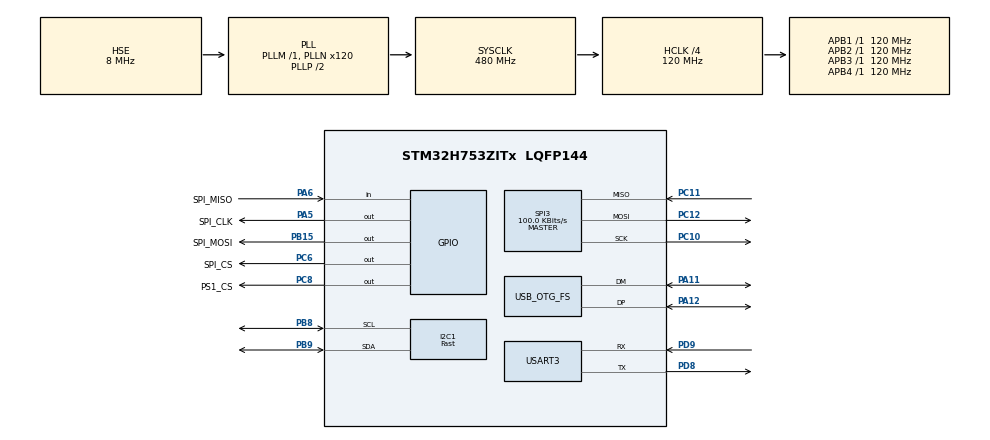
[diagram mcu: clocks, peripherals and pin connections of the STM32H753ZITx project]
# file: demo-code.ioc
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CORTEX_M7.CPU_DCache=Disabled
CORTEX_M7.CPU_ICache=Disabled
CORTEX_M7.MPU_Control=__NULL
CORTEX_M7.default_mode_Activation=1
Dma.Request0=USART3_RX
Dma.Request1=USART3_TX
Dma.USART3_RX.0.Direction=DMA_PERIPH_TO_MEMORY
Dma.USART3_RX.0.EventEnable=DISABLE
Dma.USART3_RX.0.FIFOMode=DMA_FIFOMODE_DISABLE
Dma.USART3_RX.0.Instance=DMA1_Stream0
Dma.USART3_RX.0.MemDataAlignment=DMA_MDATAALIGN_BYTE
Dma.USART3_RX.0.MemInc=DMA_MINC_ENABLE
Dma.USART3_RX.0.Mode=DMA_NORMAL
Dma.USART3_RX.0.PeriphDataAlignment=DMA_PDATAALIGN_BYTE
Dma.USART3_RX.0.PeriphInc=DMA_PINC_DISABLE
Dma.USART3_RX.0.Polarity=HAL_DMAMUX_REQ_GEN_RISING
Dma.USART3_RX.0.Priority=DMA_PRIORITY_MEDIUM
Dma.USART3_RX.0.RequestNumber=1
Dma.USART3_RX.0.SignalID=NONE
Dma.USART3_RX.0.SyncEnable=DISABLE
Dma.USART3_RX.0.SyncPolarity=HAL_DMAMUX_SYNC_NO_EVENT
Dma.USART3_RX.0.SyncRequestNumber=1
Dma.USART3_RX.0.SyncSignalID=NONE
Dma.USART3_TX.1.Direction=DMA_MEMORY_TO_PERIPH
Dma.USART3_TX.1.EventEnable=DISABLE
Dma.USART3_TX.1.FIFOMode=DMA_FIFOMODE_DISABLE
Dma.USART3_TX.1.Instance=DMA1_Stream1
Dma.USART3_TX.1.MemDataAlignment=DMA_MDATAALIGN_BYTE
Dma.USART3_TX.1.MemInc=DMA_MINC_ENABLE
Dma.USART3_TX.1.Mode=DMA_NORMAL
Dma.USART3_TX.1.PeriphDataAlignment=DMA_PDATAALIGN_BYTE
Dma.USART3_TX.1.PeriphInc=DMA_PINC_DISABLE
Dma.USART3_TX.1.Polarity=HAL_DMAMUX_REQ_GEN_RISING
Dma.USART3_TX.1.Priority=DMA_PRIORITY_MEDIUM
Dma.USART3_TX.1.RequestNumber=1
Dma.USART3_TX.1.SignalID=NONE
Dma.USART3_TX.1.SyncEnable=DISABLE
Dma.USART3_TX.1.SyncPolarity=HAL_DMAMUX_SYNC_NO_EVENT
Dma.USART3_TX.1.SyncRequestNumber=1
Dma.USART3_TX.1.SyncSignalID=NONE
I2C1.I2C_Speed_Mode=I2C_Fast
I2C1.Timing=0x00B03FDB
Mcu.Family=STM32H7
Mcu.Name=STM32H753ZITx
Mcu.Package=LQFP144
NUCLEO-H753ZI.BUTTON=1
NUCLEO-H753ZI.LD1=true
NUCLEO-H753ZI.LD2=true
NUCLEO-H753ZI.LD3=true
NUCLEO-H753ZI.VCP=false
NVIC.DMA1_Stream0_IRQn=true\:3\:0\:true\:false\:true\:false\:true\:true
NVIC.DMA1_Stream1_IRQn=true\:3\:0\:true\:false\:true\:false\:true\:true
NVIC.EXTI15_10_IRQn=true\:0\:0\:false\:false\:true\:false\:true\:true
NVIC.I2C1_ER_IRQn=true\:3\:0\:true\:false\:true\:true\:true\:true
NVIC.I2C1_EV_IRQn=true\:3\:0\:true\:false\:true\:true\:true\:true
NVIC.OTG_FS_EP1_IN_IRQn=true\:0\:0\:false\:false\:true\:true\:true\:true
NVIC.OTG_FS_EP1_OUT_IRQn=true\:0\:0\:false\:false\:true\:true\:true\:true
NVIC.OTG_FS_IRQn=true\:0\:0\:false\:false\:true\:true\:true\:true
NVIC.PriorityGroup=NVIC_PRIORITYGROUP_4
NVIC.SPI3_IRQn=true\:0\:0\:false\:false\:true\:true\:true\:true
NVIC.TIM17_IRQn=true\:15\:0\:false\:false\:true\:false\:true\:true
NVIC.TimeBase=TIM17_IRQn
NVIC.TimeBaseIP=TIM17
NVIC.USART3_IRQn=true\:3\:0\:true\:false\:true\:true\:true\:true
PA11.Mode=Device_Only
PA11.Signal=USB_OTG_FS_DM
PA12.Mode=Device_Only
PA12.Signal=USB_OTG_FS_DP
PA13\ (JTMS/SWDIO).Mode=Serial_Wire
PA13\ (JTMS/SWDIO).Signal=DEBUG_JTMS-SWDIO
PA14\ (JTCK/SWCLK).Mode=Serial_Wire
PA14\ (JTCK/SWCLK).Signal=DEBUG_JTCK-SWCLK
PA5.GPIO_Label=SPI_CLK
PA5.GPIO_Speed=GPIO_SPEED_FREQ_HIGH
PA5.Signal=GPIO_Output
PA6.GPIO_Label=SPI_MISO
PA6.GPIO_PuPd=GPIO_NOPULL
PA6.Signal=GPIO_Input
PB15.GPIO_Label=SPI_MOSI
PB15.GPIO_Speed=GPIO_SPEED_FREQ_HIGH
PB15.Signal=GPIO_Output
PB8.Mode=I2C
PB8.Signal=I2C1_SCL
PB9.Mode=I2C
PB9.Signal=I2C1_SDA
PC10.Mode=Full_Duplex_Master
PC10.Signal=SPI3_SCK
PC11.Mode=Full_Duplex_Master
PC11.Signal=SPI3_MISO
PC12.Mode=Full_Duplex_Master
PC12.Signal=SPI3_MOSI
PC14-OSC32_IN\ (OSC32_IN).Signal=RCC_OSC32_IN
PC15-OSC32_OUT\ (OSC32_OUT).Signal=RCC_OSC32_OUT
PC6.GPIO_Label=SPI_CS
PC6.GPIO_Speed=GPIO_SPEED_FREQ_HIGH
PC6.PinState=GPIO_PIN_SET
PC6.Signal=GPIO_Output
PC8.GPIO_Label=PS1_CS
PC8.PinState=GPIO_PIN_SET
PC8.Signal=GPIO_Output
PD8.Mode=Asynchronous
PD8.Signal=USART3_TX
PD9.Mode=Asynchronous
PD9.Signal=USART3_RX
PH0-OSC_IN\ (PH0).Mode=HSE-External-Clock-Source
PH0-OSC_IN\ (PH0).Signal=RCC_OSC_IN
PH1-OSC_OUT\ (PH1).Signal=RCC_OSC_OUT
ProjectManager.HeapSize=0x200
ProjectManager.StackSize=0x400
ProjectManager.TargetToolchain=CMake
RCC.ADCFreq_Value=120000000
RCC.APB1Freq_Value=120000000
RCC.APB2Freq_Value=120000000
RCC.APB3Freq_Value=120000000
RCC.APB4Freq_Value=120000000
RCC.CortexFreq_Value=480000000
RCC.DIVM1=1
RCC.DIVM2=1
RCC.DIVM3=4
RCC.DIVN1=120
RCC.DIVN2=120
RCC.DIVN3=80
RCC.DIVP2=8
RCC.DIVP3=100
RCC.DIVQ1=8
RCC.DIVQ2=8
RCC.DIVQ3=8
RCC.DIVR1=8
RCC.DIVR3=8
RCC.HCLKFreq_Value=120000000
RCC.HPRE=RCC_HCLK_DIV4
RCC.HSE_VALUE=8000000
RCC.PLLFRACN=0
RCC.PLLSourceVirtual=RCC_PLLSOURCE_HSE
RCC.PWR_Regulator_Voltage_Scale=PWR_REGULATOR_VOLTAGE_SCALE0
RCC.SPI123CLockSelection=RCC_SPI123CLKSOURCE_PLL3
RCC.SYSCLKFreq_VALUE=480000000
RCC.SYSCLKSource=RCC_SYSCLKSOURCE_PLLCLK
RCC.USBCLockSelection=RCC_USBCLKSOURCE_HSI48
RCC.USBFreq_Value=48000000
SPI3.BaudRatePrescaler=SPI_BAUDRATEPRESCALER_16
SPI3.CLKPhase=SPI_PHASE_2EDGE
SPI3.CLKPolarity=SPI_POLARITY_HIGH
SPI3.CalculateBaudRate=100.0 KBits/s
SPI3.DataSize=SPI_DATASIZE_8BIT
SPI3.Direction=SPI_DIRECTION_2LINES
SPI3.FirstBit=SPI_FIRSTBIT_LSB
SPI3.Mode=SPI_MODE_MASTER
SPI3.VirtualType=VM_MASTER
USART3.VirtualMode-Asynchronous=VM_ASYNC
USB_DEVICE.CLASS_NAME_FS=CDC
USB_DEVICE.VirtualMode-CDC_FS=Cdc
USB_DEVICE.VirtualModeFS=Cdc_FS
USB_OTG_FS.VirtualMode=Device_Only
VP_CRC_VS_CRC.Mode=CRC_Activate
VP_MEMORYMAP_VS_MEMORYMAP.Mode=CurAppReg
VP_NUCLEO-H753ZI_VS_BSP_COMMON.Mode=COMMON
VP_SYS_VS_tim17.Mode=TIM17
VP_USB_DEVICE_VS_USB_DEVICE_CDC_FS.Mode=CDC_FS
board=NUCLEO-H753ZI

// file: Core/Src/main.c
/* USER CODE BEGIN Header */
/**
  ******************************************************************************
  * @file           : main.c
  * @brief          : Main program body
  ******************************************************************************
  * @attention
  *
  * Copyright (c) 2025 STMicroelectronics.
  * All rights reserved.
  *
  * This software is licensed under terms that can be found in the LICENSE file
  * in the root directory of this software component.
  * If no LICENSE file comes with this software, it is provided AS-IS.
  *
  ******************************************************************************
  */
/* USER CODE END Header */
#include "main.h"
#include "usb_device.h"

/* USER CODE BEGIN Includes */

#include "logging.h"
#include "util.h"
#include <stdio.h>
#include <stdbool.h>
#include <string.h>

/* USER CODE END Includes */

/* USER CODE BEGIN PD */
#define BITBANG_SPI   0   // comment out or set to 0 to use HAL SPI
#if BITBANG_SPI
#include "bitbang_spi.h"
#endif
/* USER CODE END PD */

CRC_HandleTypeDef hcrc;

I2C_HandleTypeDef hi2c1;

SPI_HandleTypeDef hspi3;

UART_HandleTypeDef huart3;
DMA_HandleTypeDef hdma_usart3_rx;
DMA_HandleTypeDef hdma_usart3_tx;

void SystemClock_Config(void);
static void MX_GPIO_Init(void);
static void MX_DMA_Init(void);
static void MX_USART3_UART_Init(void);
static void MX_I2C1_Init(void);
static void MX_CRC_Init(void);
static void MX_SPI3_Init(void);

/* USER CODE BEGIN 0 */
static void PSX_Init(void)
{
    uint8_t rx;
#if !BITBANG_SPI

#else
    // Enter config mode
    bitbang_spi_cs_assert();
    bitbang_spi_transfer(0x01);
    bitbang_spi_transfer(0x43);
    bitbang_spi_transfer(0x00);
    bitbang_spi_transfer(0x01);
    bitbang_spi_transfer(0x00);
    bitbang_spi_cs_deassert();
    HAL_Delay(10);

    // Enable analog mode
    bitbang_spi_cs_assert();
    bitbang_spi_transfer(0x01);
    bitbang_spi_transfer(0x44);
    bitbang_spi_transfer(0x00);
    bitbang_spi_transfer(0x01);  // Analog mode
    bitbang_spi_transfer(0x03);  // Lock
    bitbang_spi_cs_deassert();
    HAL_Delay(10);

    // Enable vibration
    bitbang_spi_cs_assert();
    bitbang_spi_transfer(0x01);
    bitbang_spi_transfer(0x4D);
    bitbang_spi_transfer(0x00);
    bitbang_spi_transfer(0x00);
    bitbang_spi_transfer(0x01);
    bitbang_spi_transfer(0xFF);
    bitbang_spi_transfer(0xFF);
    bitbang_spi_transfer(0xFF);
    bitbang_spi_transfer(0xFF);
    bitbang_spi_cs_deassert();
    HAL_Delay(10);

    // Exit config mode
    bitbang_spi_cs_assert();
    bitbang_spi_transfer(0x01);
    bitbang_spi_transfer(0x43);
    bitbang_spi_transfer(0x00);
    bitbang_spi_transfer(0x00);
    bitbang_spi_transfer(0x5A);
    bitbang_spi_cs_deassert();
    HAL_Delay(10);
#endif
}

static uint8_t psx_tx(uint8_t data)
{
    uint8_t rx;
#if BITBANG_SPI

    return bitbang_spi_transfer(data);

#else

    HAL_SPI_TransmitReceive(&hspi3, &data, &rx, 1, HAL_MAX_DELAY);

#endif
    return rx;
}

void PSX_Read(uint16_t *buttons, uint8_t rx[5])
{

    uint8_t tx[5] = {0x01, 0x42, 0x00, 0x00, 0x00};

#if !BITBANG_SPI
    HAL_GPIO_WritePin(PS1_CS_GPIO_Port, PS1_CS_Pin, GPIO_PIN_RESET);
    delay_us(10);

    for (int i = 0; i < 5; i++)
    {
        rx[i] = psx_tx(tx[i]);
        delay_us(10);
    }

    HAL_GPIO_WritePin(PS1_CS_GPIO_Port, PS1_CS_Pin, GPIO_PIN_SET);
    delay_us(10);
#else

    bitbang_spi_cs_assert();
    delay_us(10);

    rx[0] = psx_tx(0x01);  // Start
    delay_us(100);

    rx[1] = psx_tx(0x42);  // Poll
    delay_us(100);

    rx[2] = psx_tx(0x00);  // ID / ACK
    delay_us(100);

    rx[3] = psx_tx(0x00);  // Buttons low
    delay_us(100);

    rx[4] = psx_tx(0x00);  // Buttons high
    delay_us(100);

    bitbang_spi_cs_deassert();
    delay_us(10);
#endif

    *buttons = ((uint16_t)rx[4] << 8) | rx[3];
}

void PSX_PrintButtons(uint16_t b)
{
    // Move cursor up 1 line (RX line) and carriage return
    printf("\033[F");  // Move cursor up one line
    printf("\r");      // Carriage return to start of line

    // Print buttons
    printf("Buttons: ");

    if (!(b & (1<<0)))  printf("SELECT ");
    if (!(b & (1<<1)))  printf("L3 ");
    if (!(b & (1<<2)))  printf("R3 ");
    if (!(b & (1<<3)))  printf("START ");
    if (!(b & (1<<4)))  printf("UP ");
    if (!(b & (1<<5)))  printf("RIGHT ");
    if (!(b & (1<<6)))  printf("DOWN ");
    if (!(b & (1<<7)))  printf("LEFT ");

    if (!(b & (1<<8)))  printf("L2 ");
    if (!(b & (1<<9)))  printf("R2 ");
    if (!(b & (1<<10))) printf("L1 ");
    if (!(b & (1<<11))) printf("R1 ");
    if (!(b & (1<<12))) printf("TRIANGLE ");
    if (!(b & (1<<13))) printf("CIRCLE ");
    if (!(b & (1<<14))) printf("CROSS ");
    if (!(b & (1<<15))) printf("SQUARE ");

    // Clear to end of line so old characters disappear
    printf("\033[K\r\n");
}

void PSX_PrintStatus(uint16_t buttons, uint8_t rx[5])
{
    // Move cursor to top-left
    printf("\033[H");   // Home cursor
    printf("\033[J");   // Clear everything below cursor (optional, keeps screen clean)

    // Print RX line
    printf("RX: %02X %02X %02X %02X %02X\r\n",
           rx[0], rx[1], rx[2], rx[3], rx[4]);

    // Print Buttons line
    printf("Buttons: ");

    if (!(buttons & (1<<0)))  printf("SELECT ");
    if (!(buttons & (1<<1)))  printf("L3 ");
    if (!(buttons & (1<<2)))  printf("R3 ");
    if (!(buttons & (1<<3)))  printf("START ");
    if (!(buttons & (1<<4)))  printf("UP ");
    if (!(buttons & (1<<5)))  printf("RIGHT ");
    if (!(buttons & (1<<6)))  printf("DOWN ");
    if (!(buttons & (1<<7)))  printf("LEFT ");
    if (!(buttons & (1<<8)))  printf("L2 ");
    if (!(buttons & (1<<9)))  printf("R2 ");
    if (!(buttons & (1<<10))) printf("L1 ");
    if (!(buttons & (1<<11))) printf("R1 ");
    if (!(buttons & (1<<12))) printf("TRIANGLE ");
    if (!(buttons & (1<<13))) printf("CIRCLE ");
    if (!(buttons & (1<<14))) printf("CROSS ");
    if (!(buttons & (1<<15))) printf("SQUARE ");

    printf("\r\n");
    fflush(stdout); // ensure immediate output
}

/* USER CODE END 0 */

int main(void)
{

  /* USER CODE BEGIN 1 */

  uint16_t buttons;
  uint8_t rx[5];

  /* USER CODE END 1 */

  /* MCU Configuration--------------------------------------------------------*/

  /* Reset of all peripherals, Initializes the Flash interface and the Systick. */
  HAL_Init();

  /* Configure the system clock */
  SystemClock_Config();

  /* Initialize all configured peripherals */
  MX_GPIO_Init();
  MX_DMA_Init();
  MX_USART3_UART_Init();
  MX_I2C1_Init();
  MX_USB_DEVICE_Init();
  MX_CRC_Init();
  MX_SPI3_Init();
  /* USER CODE BEGIN 2 */
  DWT_Init();
  HAL_GPIO_WritePin(PS1_CS_GPIO_Port, PS1_CS_Pin, GPIO_PIN_SET);
  init_dma_logging();
  printf("\033c");
  printf("Duvitech PSX Controller Demo\r\n\r\n");
  printf("CPU Clock Frequency: %lu MHz\r\n", HAL_RCC_GetSysClockFreq() / 1000000);

  printf("PS1 Controller Init\r\n");

  /* USER CODE END 2 */

  /* Initialize leds */
  BSP_LED_Init(LED_GREEN);
  BSP_LED_Init(LED_BLUE);
  BSP_LED_Init(LED_RED);

  /* Initialize USER push-button, will be used to trigger an interrupt each time it's pressed.*/
  BSP_PB_Init(BUTTON_USER, BUTTON_MODE_EXTI);

  /* Infinite loop */
  while (1)
  {

    /* USER CODE BEGIN 3 */
    BSP_LED_Toggle(LED_GREEN);
    PSX_Read(&buttons, rx);
    PSX_PrintStatus(buttons, rx);

    // HAL_GPIO_TogglePin(SPI_MISO_GPIO_Port, SPI_MISO_Pin);
    // HAL_GPIO_TogglePin(SPI_MOSI_GPIO_Port, SPI_MOSI_Pin);
    // HAL_GPIO_TogglePin(SPI_CLK_GPIO_Port, SPI_CLK_Pin);
    HAL_Delay(25);
  }
  /* USER CODE END 3 */
}

void SystemClock_Config(void)
{
  RCC_OscInitTypeDef RCC_OscInitStruct = {0};
  RCC_ClkInitTypeDef RCC_ClkInitStruct = {0};

  /** Supply configuration update enable
  */
  HAL_PWREx_ConfigSupply(PWR_LDO_SUPPLY);

  /** Configure the main internal regulator output voltage
  */
  __HAL_PWR_VOLTAGESCALING_CONFIG(PWR_REGULATOR_VOLTAGE_SCALE0);

  while(!__HAL_PWR_GET_FLAG(PWR_FLAG_VOSRDY)) {}

  /** Initializes the RCC Oscillators according to the specified parameters
  * in the RCC_OscInitTypeDef structure.
  */
  RCC_OscInitStruct.OscillatorType = RCC_OSCILLATORTYPE_HSI48|RCC_OSCILLATORTYPE_HSE;
  RCC_OscInitStruct.HSEState = RCC_HSE_BYPASS;
  RCC_OscInitStruct.HSI48State = RCC_HSI48_ON;
  RCC_OscInitStruct.PLL.PLLState = RCC_PLL_ON;
  RCC_OscInitStruct.PLL.PLLSource = RCC_PLLSOURCE_HSE;
  RCC_OscInitStruct.PLL.PLLM = 1;
  RCC_OscInitStruct.PLL.PLLN = 120;
  RCC_OscInitStruct.PLL.PLLP = 2;
  RCC_OscInitStruct.PLL.PLLQ = 8;
  RCC_OscInitStruct.PLL.PLLR = 8;
  RCC_OscInitStruct.PLL.PLLRGE = RCC_PLL1VCIRANGE_3;
  RCC_OscInitStruct.PLL.PLLVCOSEL = RCC_PLL1VCOWIDE;
  RCC_OscInitStruct.PLL.PLLFRACN = 0;
  if (HAL_RCC_OscConfig(&RCC_OscInitStruct) != HAL_OK)
  {
    Error_Handler();
  }

  /** Initializes the CPU, AHB and APB buses clocks
  */
  RCC_ClkInitStruct.ClockType = RCC_CLOCKTYPE_HCLK|RCC_CLOCKTYPE_SYSCLK
                              |RCC_CLOCKTYPE_PCLK1|RCC_CLOCKTYPE_PCLK2
                              |RCC_CLOCKTYPE_D3PCLK1|RCC_CLOCKTYPE_D1PCLK1;
  RCC_ClkInitStruct.SYSCLKSource = RCC_SYSCLKSOURCE_PLLCLK;
  RCC_ClkInitStruct.SYSCLKDivider = RCC_SYSCLK_DIV1;
  RCC_ClkInitStruct.AHBCLKDivider = RCC_HCLK_DIV4;
  RCC_ClkInitStruct.APB3CLKDivider = RCC_APB3_DIV1;
  RCC_ClkInitStruct.APB1CLKDivider = RCC_APB1_DIV1;
  RCC_ClkInitStruct.APB2CLKDivider = RCC_APB2_DIV1;
  RCC_ClkInitStruct.APB4CLKDivider = RCC_APB4_DIV1;

  if (HAL_RCC_ClockConfig(&RCC_ClkInitStruct, FLASH_LATENCY_1) != HAL_OK)
  {
    Error_Handler();
  }
}

static void MX_CRC_Init(void)
{

  hcrc.Instance = CRC;
  hcrc.Init.DefaultPolynomialUse = DEFAULT_POLYNOMIAL_ENABLE;
  hcrc.Init.DefaultInitValueUse = DEFAULT_INIT_VALUE_ENABLE;
  hcrc.Init.InputDataInversionMode = CRC_INPUTDATA_INVERSION_NONE;
  hcrc.Init.OutputDataInversionMode = CRC_OUTPUTDATA_INVERSION_DISABLE;
  hcrc.InputDataFormat = CRC_INPUTDATA_FORMAT_BYTES;
  if (HAL_CRC_Init(&hcrc) != HAL_OK)
  {
    Error_Handler();
  }

}

static void MX_I2C1_Init(void)
{

  hi2c1.Instance = I2C1;
  hi2c1.Init.Timing = 0x00B03FDB;
  hi2c1.Init.OwnAddress1 = 0;
  hi2c1.Init.AddressingMode = I2C_ADDRESSINGMODE_7BIT;
  hi2c1.Init.DualAddressMode = I2C_DUALADDRESS_DISABLE;
  hi2c1.Init.OwnAddress2 = 0;
  hi2c1.Init.OwnAddress2Masks = I2C_OA2_NOMASK;
  hi2c1.Init.GeneralCallMode = I2C_GENERALCALL_DISABLE;
  hi2c1.Init.NoStretchMode = I2C_NOSTRETCH_DISABLE;
  if (HAL_I2C_Init(&hi2c1) != HAL_OK)
  {
    Error_Handler();
  }

  /** Configure Analogue filter
  */
  if (HAL_I2CEx_ConfigAnalogFilter(&hi2c1, I2C_ANALOGFILTER_ENABLE) != HAL_OK)
  {
    Error_Handler();
  }

  /** Configure Digital filter
  */
  if (HAL_I2CEx_ConfigDigitalFilter(&hi2c1, 0) != HAL_OK)
  {
    Error_Handler();
  }

}

static void MX_SPI3_Init(void)
{

  /* SPI3 parameter configuration*/
  hspi3.Instance = SPI3;
  hspi3.Init.Mode = SPI_MODE_MASTER;
  hspi3.Init.Direction = SPI_DIRECTION_2LINES;
  hspi3.Init.DataSize = SPI_DATASIZE_8BIT;
  hspi3.Init.CLKPolarity = SPI_POLARITY_HIGH;
  hspi3.Init.CLKPhase = SPI_PHASE_2EDGE;
  hspi3.Init.NSS = SPI_NSS_SOFT;
  hspi3.Init.BaudRatePrescaler = SPI_BAUDRATEPRESCALER_16;
  hspi3.Init.FirstBit = SPI_FIRSTBIT_LSB;
  hspi3.Init.TIMode = SPI_TIMODE_DISABLE;
  hspi3.Init.CRCCalculation = SPI_CRCCALCULATION_DISABLE;
  hspi3.Init.CRCPolynomial = 0x0;
  hspi3.Init.NSSPMode = SPI_NSS_PULSE_ENABLE;
  hspi3.Init.NSSPolarity = SPI_NSS_POLARITY_LOW;
  hspi3.Init.FifoThreshold = SPI_FIFO_THRESHOLD_01DATA;
  hspi3.Init.TxCRCInitializationPattern = SPI_CRC_INITIALIZATION_ALL_ZERO_PATTERN;
  hspi3.Init.RxCRCInitializationPattern = SPI_CRC_INITIALIZATION_ALL_ZERO_PATTERN;
  hspi3.Init.MasterSSIdleness = SPI_MASTER_SS_IDLENESS_00CYCLE;
  hspi3.Init.MasterInterDataIdleness = SPI_MASTER_INTERDATA_IDLENESS_00CYCLE;
  hspi3.Init.MasterReceiverAutoSusp = SPI_MASTER_RX_AUTOSUSP_DISABLE;
  hspi3.Init.MasterKeepIOState = SPI_MASTER_KEEP_IO_STATE_DISABLE;
  hspi3.Init.IOSwap = SPI_IO_SWAP_DISABLE;
  if (HAL_SPI_Init(&hspi3) != HAL_OK)
  {
    Error_Handler();
  }

}

static void MX_USART3_UART_Init(void)
{

  huart3.Instance = USART3;
  huart3.Init.BaudRate = 115200;
  huart3.Init.WordLength = UART_WORDLENGTH_8B;
  huart3.Init.StopBits = UART_STOPBITS_1;
  huart3.Init.Parity = UART_PARITY_NONE;
  huart3.Init.Mode = UART_MODE_TX_RX;
  huart3.Init.HwFlowCtl = UART_HWCONTROL_NONE;
  huart3.Init.OverSampling = UART_OVERSAMPLING_16;
  huart3.Init.OneBitSampling = UART_ONE_BIT_SAMPLE_DISABLE;
  huart3.Init.ClockPrescaler = UART_PRESCALER_DIV1;
  huart3.AdvancedInit.AdvFeatureInit = UART_ADVFEATURE_NO_INIT;
  if (HAL_UART_Init(&huart3) != HAL_OK)
  {
    Error_Handler();
  }
  if (HAL_UARTEx_SetTxFifoThreshold(&huart3, UART_TXFIFO_THRESHOLD_1_8) != HAL_OK)
  {
    Error_Handler();
  }
  if (HAL_UARTEx_SetRxFifoThreshold(&huart3, UART_RXFIFO_THRESHOLD_1_8) != HAL_OK)
  {
    Error_Handler();
  }
  if (HAL_UARTEx_DisableFifoMode(&huart3) != HAL_OK)
  {
    Error_Handler();
  }

}

static void MX_DMA_Init(void)
{

  /* DMA controller clock enable */
  __HAL_RCC_DMA1_CLK_ENABLE();

  /* DMA interrupt init */
  /* DMA1_Stream0_IRQn interrupt configuration */
  HAL_NVIC_SetPriority(DMA1_Stream0_IRQn, 3, 0);
  HAL_NVIC_EnableIRQ(DMA1_Stream0_IRQn);
  /* DMA1_Stream1_IRQn interrupt configuration */
  HAL_NVIC_SetPriority(DMA1_Stream1_IRQn, 3, 0);
  HAL_NVIC_EnableIRQ(DMA1_Stream1_IRQn);

}

static void MX_GPIO_Init(void)
{
  GPIO_InitTypeDef GPIO_InitStruct = {0};

  /* GPIO Ports Clock Enable */
  __HAL_RCC_GPIOC_CLK_ENABLE();
  __HAL_RCC_GPIOH_CLK_ENABLE();
  __HAL_RCC_GPIOA_CLK_ENABLE();
  __HAL_RCC_GPIOB_CLK_ENABLE();
  __HAL_RCC_GPIOD_CLK_ENABLE();

  /*Configure GPIO pin Output Level */
  HAL_GPIO_WritePin(SPI_CLK_GPIO_Port, SPI_CLK_Pin, GPIO_PIN_RESET);

  /*Configure GPIO pin Output Level */
  HAL_GPIO_WritePin(SPI_MOSI_GPIO_Port, SPI_MOSI_Pin, GPIO_PIN_RESET);

  /*Configure GPIO pin Output Level */
  HAL_GPIO_WritePin(GPIOC, SPI_CS_Pin|PS1_CS_Pin, GPIO_PIN_SET);

  /*Configure GPIO pin : SPI_CLK_Pin */
  GPIO_InitStruct.Pin = SPI_CLK_Pin;
  GPIO_InitStruct.Mode = GPIO_MODE_OUTPUT_PP;
  GPIO_InitStruct.Pull = GPIO_NOPULL;
  GPIO_InitStruct.Speed = GPIO_SPEED_FREQ_HIGH;
  HAL_GPIO_Init(SPI_CLK_GPIO_Port, &GPIO_InitStruct);

  /*Configure GPIO pin : SPI_MISO_Pin */
  GPIO_InitStruct.Pin = SPI_MISO_Pin;
  GPIO_InitStruct.Mode = GPIO_MODE_INPUT;
  GPIO_InitStruct.Pull = GPIO_NOPULL;
  HAL_GPIO_Init(SPI_MISO_GPIO_Port, &GPIO_InitStruct);

  /*Configure GPIO pin : SPI_MOSI_Pin */
  GPIO_InitStruct.Pin = SPI_MOSI_Pin;
  GPIO_InitStruct.Mode = GPIO_MODE_OUTPUT_PP;
  GPIO_InitStruct.Pull = GPIO_NOPULL;
  GPIO_InitStruct.Speed = GPIO_SPEED_FREQ_HIGH;
  HAL_GPIO_Init(SPI_MOSI_GPIO_Port, &GPIO_InitStruct);

  /*Configure GPIO pin : SPI_CS_Pin */
  GPIO_InitStruct.Pin = SPI_CS_Pin;
  GPIO_InitStruct.Mode = GPIO_MODE_OUTPUT_PP;
  GPIO_InitStruct.Pull = GPIO_NOPULL;
  GPIO_InitStruct.Speed = GPIO_SPEED_FREQ_HIGH;
  HAL_GPIO_Init(SPI_CS_GPIO_Port, &GPIO_InitStruct);

  /*Configure GPIO pin : PS1_CS_Pin */
  GPIO_InitStruct.Pin = PS1_CS_Pin;
  GPIO_InitStruct.Mode = GPIO_MODE_OUTPUT_PP;
  GPIO_InitStruct.Pull = GPIO_NOPULL;
  GPIO_InitStruct.Speed = GPIO_SPEED_FREQ_LOW;
  HAL_GPIO_Init(PS1_CS_GPIO_Port, &GPIO_InitStruct);

}

/* USER CODE BEGIN 4 */
void HAL_UART_RxCpltCallback(UART_HandleTypeDef *huart)
{

}

void HAL_UART_TxCpltCallback(UART_HandleTypeDef *huart)
{
	if(huart->Instance == USART3)
	{
		logging_UART_TxCpltCallback(huart);
	}
}

void BSP_PB_Callback(Button_TypeDef Button)
{
    BSP_LED_Toggle(LED_RED);
}

/* USER CODE END 4 */

void HAL_TIM_PeriodElapsedCallback(TIM_HandleTypeDef *htim)
{
  if (htim->Instance == TIM17)
  {
    HAL_IncTick();
  }
}

void Error_Handler(void)
{
  __disable_irq();
  while (1)
  {
  }
}
